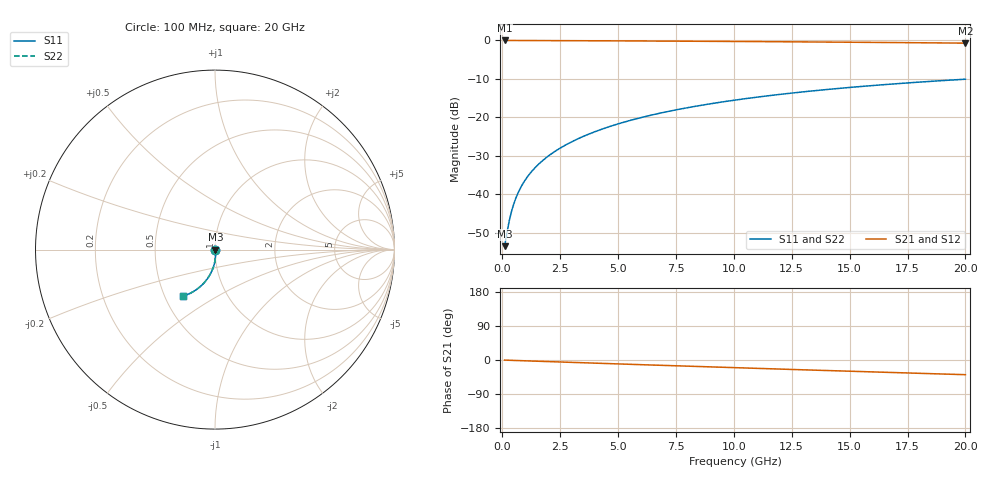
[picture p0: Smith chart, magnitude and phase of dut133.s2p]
! Touchstone file exported from HFSS 2026.1.0
!  File:  C:/ffzhzh/LocalFiles/Ansys_Project_Files/temp_train_TMRDL_133_1782982814_42984.aedt
!  Generated:  05:01:24 PM Jul  2, 2026
!  Design:  TMRDL
!  Project:  temp_train_TMRDL_133_1782982814_42984
! Variables:
!  h_bsmrdl = 2um
!  h_ox = 20um
!  h_rdl = 5um
!  h_sub = 80um
!  h_tmrdl = 5.42um
!  h_tsv = 80um
!  h_via = 3um
!  l_bsmrdl = 300um
!  l_sub = 1001.36um
!  l_tmrdl = 601.36um
!  m_sub = 200um
!  pitch = 26.49um
!  r_tsv = 6um
!  s_tmrdl = 10um
!  w_bsmrdl = 18um
!  w_sub = 500um
!  w_tmrdl = 24.93um
!  x_tsv_center1 = 613.825um
!  x_tsv_center2 = 931.825um
!  x_tsv_center3 = 1558.115um
!  x_tsv_center4 = 1876.115um
!  x_tsv_center5 = 2502.405um
!  x_tsv_center6 = 2820.405um
# GHz S MA R 50.000000
! Terminal data exported
! Port[1] = TM_RDL1_1_T1
! Port[2] = TM_RDL1_1_T2
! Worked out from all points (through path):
!   200 points, 100 MHz to 20 GHz, reference 50 ohm
!   highest |S21| = -0.02 dB at 100 MHz (marker M1); lowest = -0.7 dB at 20 GHz (marker M2)
!   group delay of S21, straight-line fit = 5.36 ps
!   lowest |S11| = -53.5 dB at 100 MHz (marker M3), VSWR 1.00, Z = 50.2 - j0.0845 ohm
!   |S11| at or under -10 dB: start of sweep to end of sweep
!   |S22| runs from -53.5 to -10.1 dB; largest |S21 - S12| = 2.1e-15
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0.1  0.002119 -23.4  0.9981 -0.3  0.9981 -0.3  0.002119 -23.4
! Gamma 0 0 0 0
! Port Impedance 50 0 50 0
0.2  0.003156 -39.5  0.9975 -0.5  0.9975 -0.5  0.003156 -39.5
0.3  0.004519 -50.1  0.9971 -0.7  0.9971 -0.7  0.004519 -50.1
0.4  0.00602 -57.5  0.9967 -0.9  0.9967 -0.9  0.00602 -57.5
0.5  0.007575 -62.8  0.9964 -1.1  0.9964 -1.1  0.007575 -62.8
0.6  0.009152 -66.7  0.9962 -1.3  0.9962 -1.3  0.009152 -66.7
0.8  0.01233 -72.2  0.9958 -1.7  0.9958 -1.7  0.01233 -72.2
1.1  0.01711 -77.1  0.9954 -2.4  0.9954 -2.4  0.01711 -77.1
1.5  0.02352 -80.9  0.9947 -3.2  0.9947 -3.2  0.02352 -80.9
1.8  0.02837 -82.8  0.9942 -3.8  0.9942 -3.8  0.02837 -82.8
2.1  0.03326 -84.3  0.9936 -4.5  0.9936 -4.5  0.03326 -84.3
2.7  0.04316 -86.6  0.9923 -5.7  0.9923 -5.7  0.04316 -86.6
3.5  0.0566 -89.1  0.9903 -7.3  0.9903 -7.3  0.0566 -89.1
4.2  0.06851 -91.0  0.9884 -8.8  0.9884 -8.8  0.06851 -91.0
5  0.08224 -93.0  0.986 -10.4  0.986 -10.4  0.08224 -93.0
5.9  0.09771 -95.2  0.9833 -12.2  0.9833 -12.2  0.09771 -95.2
6.8  0.1131 -97.4  0.9804 -13.9  0.9804 -13.9  0.1131 -97.4
8.3  0.1386 -100.8  0.9753 -16.9  0.9753 -16.9  0.1386 -100.8
10.1  0.1685 -104.8  0.9686 -20.4  0.9686 -20.4  0.1685 -104.8
13.4  0.2207 -111.6  0.9545 -26.7  0.9545 -26.7  0.2207 -111.6
16.7  0.2691 -118.1  0.9386 -32.8  0.9386 -32.8  0.2691 -118.1
20  0.313 -124.2  0.9214 -38.7  0.9214 -38.7  0.3131 -124.2
